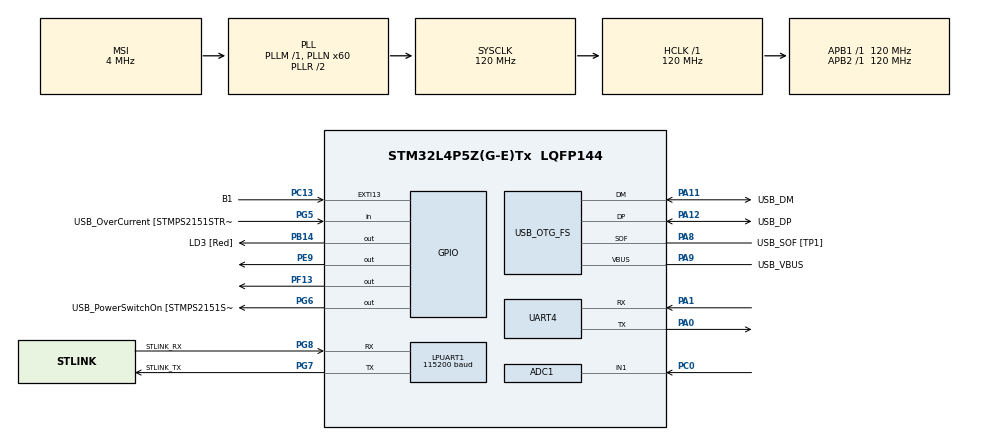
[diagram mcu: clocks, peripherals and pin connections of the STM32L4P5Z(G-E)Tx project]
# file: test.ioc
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ADC1.Channel-0\#ChannelRegularConversion=ADC_CHANNEL_1
ADC1.ClockPrescaler=ADC_CLOCK_ASYNC_DIV1
ADC1.ContinuousConvMode=DISABLE
ADC1.DMAContinuousRequests=DISABLE
ADC1.NbrOfConversionFlag=1
ADC1.OffsetNumber-0\#ChannelRegularConversion=ADC_OFFSET_NONE
ADC1.Rank-0\#ChannelRegularConversion=1
ADC1.SamplingTime-0\#ChannelRegularConversion=ADC_SAMPLETIME_2CYCLES_5
ADC1.master=1
FREERTOS.Tasks01=defaultTask,24,128,StartDefaultTask,Default,NULL,Dynamic,NULL,NULL
LPUART1.BaudRate=115200
LPUART1.WordLength=UART_WORDLENGTH_8B
Mcu.Family=STM32L4
Mcu.Name=STM32L4P5Z(G-E)Tx
Mcu.Package=LQFP144
NVIC.PriorityGroup=NVIC_PRIORITYGROUP_4
PA0.Mode=Asynchronous
PA0.Signal=UART4_TX
PA1.Mode=Asynchronous
PA1.Signal=UART4_RX
PA10.GPIO_Label=USB_ID
PA10.Signal=USB_OTG_FS_ID
PA11.GPIO_Label=USB_DM
PA11.Mode=Device_Only
PA11.Signal=USB_OTG_FS_DM
PA12.GPIO_Label=USB_DP
PA12.Mode=Device_Only
PA12.Signal=USB_OTG_FS_DP
PA13\ (JTMS/SWDIO).GPIO_Label=TMS
PA13\ (JTMS/SWDIO).Mode=Trace_Asynchronous_SW
PA13\ (JTMS/SWDIO).Signal=SYS_JTMS-SWDIO
PA14\ (JTCK/SWCLK).GPIO_Label=TCK
PA14\ (JTCK/SWCLK).Mode=Trace_Asynchronous_SW
PA14\ (JTCK/SWCLK).Signal=SYS_JTCK-SWCLK
PA8.GPIO_Label=USB_SOF [TP1]
PA8.Mode=Activate_SOF_FS
PA8.Signal=USB_OTG_FS_SOF
PA9.GPIO_Label=USB_VBUS
PA9.Mode=Activate_VBUS
PA9.Signal=USB_OTG_FS_VBUS
PB14.GPIO_Label=LD3 [Red]
PB14.Signal=GPIO_Output
PB3\ (JTDO/TRACESWO).GPIO_Label=SWO
PB3\ (JTDO/TRACESWO).Mode=Trace_Asynchronous_SW
PB3\ (JTDO/TRACESWO).Signal=SYS_JTDO-SWO
PB4\ (NJTRST).Signal=S_TIM3_CH1
PC0.Signal=ADCx_IN1
PC13.GPIO_Label=B1
PC13.Signal=GPXTI13
PC14-OSC32_IN\ (PC14).Mode=LSE-External-Oscillator
PC14-OSC32_IN\ (PC14).Signal=RCC_OSC32_IN
PC15-OSC32_OUT\ (PC15).Mode=LSE-External-Oscillator
PC15-OSC32_OUT\ (PC15).Signal=RCC_OSC32_OUT
PE9.Signal=GPIO_Output
PF13.Signal=GPIO_Output
PG5.GPIO_Label=USB_OverCurrent [STMPS2151STR_FAULT]
PG5.Signal=GPIO_Input
PG6.GPIO_Label=USB_PowerSwitchOn [STMPS2151STR_En]
PG6.Signal=GPIO_Output
PG7.GPIO_Label=STLINK_TX
PG7.Mode=Asynchronous
PG7.Signal=LPUART1_TX
PG8.GPIO_Label=STLINK_RX
PG8.Mode=Asynchronous
PG8.Signal=LPUART1_RX
PH0-OSC_IN\ (PH0).Mode=HSE-External-Clock-Source
PH0-OSC_IN\ (PH0).Signal=RCC_OSC_IN
PH1-OSC_OUT\ (PH1).Signal=RCC_OSC_OUT
ProjectManager.HeapSize=0x200
ProjectManager.StackSize=0x400
ProjectManager.TargetToolchain=STM32CubeIDE
RCC.48MHZClocksFreq_Value=24000000
RCC.ADCFreq_Value=48000000
RCC.AHBFreq_Value=120000000
RCC.APB1Freq_Value=120000000
RCC.APB1TimFreq_Value=120000000
RCC.APB2Freq_Value=120000000
RCC.APB2TimFreq_Value=120000000
RCC.CortexFreq_Value=120000000
RCC.HCLKFreq_Value=120000000
RCC.HSE_VALUE=8000000
RCC.HSI48_VALUE=48000000
RCC.HSI_VALUE=16000000
RCC.MSI_VALUE=4000000
RCC.PLLMUL=RCC_PLL_MUL9
RCC.PLLN=60
RCC.PLLSAI1N=24
RCC.PRESCALERUSB=RCC_USBCLKSOURCE_PLL_DIV1_5
RCC.SYSCLKFreq_VALUE=120000000
RCC.SYSCLKSource=RCC_SYSCLKSOURCE_PLLCLK
RCC.SYSCLKSourceVirtual=RCC_SYSCLKSOURCE_PLLCLK
RCC.USBFreq_Value=48000000
RCC.VCOOutputFreq_Value=240000000
SH.ADCx_IN1.0=ADC1_IN1,IN1-Single-Ended
SH.S_TIM3_CH1.0=TIM3_CH1
USB_OTG_FS.VirtualMode=Device_Only
VP_FREERTOS_VS_CMSIS_V2.Mode=CMSIS_V2
board=NUCLEO-L4P5ZG

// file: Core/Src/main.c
/* USER CODE BEGIN Header */
/**
  ******************************************************************************
  * @file           : main.c
  * @brief          : Main program body
  ******************************************************************************
  * @attention
  *
  * Copyright (c) 2022 STMicroelectronics.
  * All rights reserved.
  *
  * This software is licensed under terms that can be found in the LICENSE file
  * in the root directory of this software component.
  * If no LICENSE file comes with this software, it is provided AS-IS.
  *
  ******************************************************************************
  */
/* USER CODE END Header */
#include "main.h"
#include "cmsis_os.h"

/* USER CODE BEGIN Includes */
#include <string.h>
#include <math.h>
/* USER CODE END Includes */

/* USER CODE BEGIN PD */
#define ADC_BUF_LEN 4096
/* USER CODE END PD */

ADC_HandleTypeDef hadc1;

UART_HandleTypeDef hlpuart1;
UART_HandleTypeDef huart4;

PCD_HandleTypeDef hpcd_USB_OTG_FS;

/* Definitions for defaultTask */
osThreadId_t defaultTaskHandle;
const osThreadAttr_t defaultTask_attributes = {
  .name = "defaultTask",
  .stack_size = 128 * 4,
  .priority = (osPriority_t) osPriorityNormal,
};
/* USER CODE BEGIN PV */
uint16_t adc_buf[ADC_BUF_LEN];
/* USER CODE END PV */

void SystemClock_Config(void);
void PeriphCommonClock_Config(void);
static void MX_GPIO_Init(void);
static void MX_USB_OTG_FS_PCD_Init(void);
static void MX_ADC1_Init(void);
static void MX_LPUART1_UART_Init(void);
static void MX_UART4_Init(void);
void StartDefaultTask(void *argument);

/* USER CODE BEGIN 0 */
double temp;
/* USER CODE END 0 */

int main(void)
{

  /* MCU Configuration--------------------------------------------------------*/

  /* Reset of all peripherals, Initializes the Flash interface and the Systick. */
  HAL_Init();

  /* Configure the system clock */
  SystemClock_Config();

/* Configure the peripherals common clocks */
  PeriphCommonClock_Config();

  /* Initialize all configured peripherals */
  MX_GPIO_Init();
  MX_USB_OTG_FS_PCD_Init();
  MX_ADC1_Init();
  MX_LPUART1_UART_Init();
  MX_UART4_Init();
  /* USER CODE BEGIN 2 */
  int pin;
  	 double temp_tres = 100;
  //HAL_ADCEx_Calibration_Start(&hadc1, ADC_SINGLE_ENDED);

  /* USER CODE END 2 */

  /* Init scheduler */
  osKernelInitialize();

  /* Create the thread(s) */
  /* creation of defaultTask */
  defaultTaskHandle = osThreadNew(StartDefaultTask, NULL, &defaultTask_attributes);

  /* Start scheduler */
  osKernelStart();

  /* We should never get here as control is now taken by the scheduler */
  /* Infinite loop */
  /* USER CODE BEGIN WHILE */
  while (1)
  {

	  //HAL_Delay(1000);
	//  if(temp < temp_tres)
	 	//	  TIM3->CCR1 = 1023;
	 	//  else
	 		//  TIM3->CCR1 = 0;

	//  {
	  HAL_GPIO_TogglePin(GPIOB, GPIO_PIN_14);
	  HAL_Delay(100);
	  double val, resistance, A,B,C;
	  uint16_t raw;
	  	  A = 0.000732;
	  	  B = 0.000214;
	  	  C = 1.07E-07;

	  		  char msg[10];
	  		  	  HAL_ADC_Start(&hadc1);
	  	  	      HAL_ADC_PollForConversion(&hadc1, HAL_MAX_DELAY);
	  	  	      raw = HAL_ADC_GetValue(&hadc1);
	  	  	      val= (3.3/4096)*raw;
	  	  	      resistance = val/((3.3-val)/100000);
	  	  	      temp = 1/(A+B*log(resistance)+C*pow(log(resistance),3))-272.15;
	  	  	      sprintf(msg, "%hu , %f , %f\r\n", raw, temp, resistance);
	  			 HAL_UART_Transmit(&hlpuart1, (uint8_t*)msg, strlen(msg), HAL_MAX_DELAY);
		//__HAL_TIM_SET_COMPARE(&htim3, TIM_CHANNEL_1, 25000);
		//HAL_Delay(1);

	  //}
    /* USER CODE END WHILE */

  }
}

void SystemClock_Config(void)
{
  RCC_OscInitTypeDef RCC_OscInitStruct = {0};
  RCC_ClkInitTypeDef RCC_ClkInitStruct = {0};

  /** Configure the main internal regulator output voltage
  */
  if (HAL_PWREx_ControlVoltageScaling(PWR_REGULATOR_VOLTAGE_SCALE1_BOOST) != HAL_OK)
  {
    Error_Handler();
  }

  /** Configure LSE Drive Capability
  */
  HAL_PWR_EnableBkUpAccess();
  __HAL_RCC_LSEDRIVE_CONFIG(RCC_LSEDRIVE_LOW);

  /** Initializes the RCC Oscillators according to the specified parameters
  * in the RCC_OscInitTypeDef structure.
  */
  RCC_OscInitStruct.OscillatorType = RCC_OSCILLATORTYPE_LSE|RCC_OSCILLATORTYPE_MSI;
  RCC_OscInitStruct.LSEState = RCC_LSE_ON;
  RCC_OscInitStruct.MSIState = RCC_MSI_ON;
  RCC_OscInitStruct.MSICalibrationValue = 0;
  RCC_OscInitStruct.MSIClockRange = RCC_MSIRANGE_6;
  RCC_OscInitStruct.PLL.PLLState = RCC_PLL_ON;
  RCC_OscInitStruct.PLL.PLLSource = RCC_PLLSOURCE_MSI;
  RCC_OscInitStruct.PLL.PLLM = 1;
  RCC_OscInitStruct.PLL.PLLN = 60;
  RCC_OscInitStruct.PLL.PLLP = RCC_PLLP_DIV2;
  RCC_OscInitStruct.PLL.PLLQ = RCC_PLLQ_DIV2;
  RCC_OscInitStruct.PLL.PLLR = RCC_PLLR_DIV2;
  if (HAL_RCC_OscConfig(&RCC_OscInitStruct) != HAL_OK)
  {
    Error_Handler();
  }

  /** Initializes the CPU, AHB and APB buses clocks
  */
  RCC_ClkInitStruct.ClockType = RCC_CLOCKTYPE_HCLK|RCC_CLOCKTYPE_SYSCLK
                              |RCC_CLOCKTYPE_PCLK1|RCC_CLOCKTYPE_PCLK2;
  RCC_ClkInitStruct.SYSCLKSource = RCC_SYSCLKSOURCE_PLLCLK;
  RCC_ClkInitStruct.AHBCLKDivider = RCC_SYSCLK_DIV1;
  RCC_ClkInitStruct.APB1CLKDivider = RCC_HCLK_DIV1;
  RCC_ClkInitStruct.APB2CLKDivider = RCC_HCLK_DIV1;

  if (HAL_RCC_ClockConfig(&RCC_ClkInitStruct, FLASH_LATENCY_5) != HAL_OK)
  {
    Error_Handler();
  }

  /** Enable MSI Auto calibration
  */
  HAL_RCCEx_EnableMSIPLLMode();
}

void PeriphCommonClock_Config(void)
{
  RCC_PeriphCLKInitTypeDef PeriphClkInit = {0};

  /** Initializes the peripherals clock
  */
  PeriphClkInit.PeriphClockSelection = RCC_PERIPHCLK_USB|RCC_PERIPHCLK_ADC;
  PeriphClkInit.AdcClockSelection = RCC_ADCCLKSOURCE_PLLSAI1;
  PeriphClkInit.UsbClockSelection = RCC_USBCLKSOURCE_PLLSAI1;
  PeriphClkInit.PLLSAI1.PLLSAI1Source = RCC_PLLSOURCE_MSI;
  PeriphClkInit.PLLSAI1.PLLSAI1M = 1;
  PeriphClkInit.PLLSAI1.PLLSAI1N = 24;
  PeriphClkInit.PLLSAI1.PLLSAI1P = RCC_PLLP_DIV2;
  PeriphClkInit.PLLSAI1.PLLSAI1Q = RCC_PLLQ_DIV2;
  PeriphClkInit.PLLSAI1.PLLSAI1R = RCC_PLLR_DIV2;
  PeriphClkInit.PLLSAI1.PLLSAI1ClockOut = RCC_PLLSAI1_48M2CLK|RCC_PLLSAI1_ADC1CLK;
  if (HAL_RCCEx_PeriphCLKConfig(&PeriphClkInit) != HAL_OK)
  {
    Error_Handler();
  }
}

static void MX_ADC1_Init(void)
{

  ADC_MultiModeTypeDef multimode = {0};
  ADC_ChannelConfTypeDef sConfig = {0};

  /** Common config
  */
  hadc1.Instance = ADC1;
  hadc1.Init.ClockPrescaler = ADC_CLOCK_ASYNC_DIV1;
  hadc1.Init.Resolution = ADC_RESOLUTION_12B;
  hadc1.Init.DataAlign = ADC_DATAALIGN_RIGHT;
  hadc1.Init.ScanConvMode = ADC_SCAN_DISABLE;
  hadc1.Init.EOCSelection = ADC_EOC_SINGLE_CONV;
  hadc1.Init.LowPowerAutoWait = DISABLE;
  hadc1.Init.ContinuousConvMode = DISABLE;
  hadc1.Init.NbrOfConversion = 1;
  hadc1.Init.DiscontinuousConvMode = DISABLE;
  hadc1.Init.ExternalTrigConv = ADC_SOFTWARE_START;
  hadc1.Init.ExternalTrigConvEdge = ADC_EXTERNALTRIGCONVEDGE_NONE;
  hadc1.Init.DMAContinuousRequests = DISABLE;
  hadc1.Init.Overrun = ADC_OVR_DATA_PRESERVED;
  hadc1.Init.OversamplingMode = DISABLE;
  if (HAL_ADC_Init(&hadc1) != HAL_OK)
  {
    Error_Handler();
  }

  /** Configure the ADC multi-mode
  */
  multimode.Mode = ADC_MODE_INDEPENDENT;
  if (HAL_ADCEx_MultiModeConfigChannel(&hadc1, &multimode) != HAL_OK)
  {
    Error_Handler();
  }

  /** Configure Regular Channel
  */
  sConfig.Channel = ADC_CHANNEL_1;
  sConfig.Rank = ADC_REGULAR_RANK_1;
  sConfig.SamplingTime = ADC_SAMPLETIME_2CYCLES_5;
  sConfig.SingleDiff = ADC_SINGLE_ENDED;
  sConfig.OffsetNumber = ADC_OFFSET_NONE;
  sConfig.Offset = 0;
  if (HAL_ADC_ConfigChannel(&hadc1, &sConfig) != HAL_OK)
  {
    Error_Handler();
  }

}

static void MX_LPUART1_UART_Init(void)
{

  hlpuart1.Instance = LPUART1;
  hlpuart1.Init.BaudRate = 115200;
  hlpuart1.Init.WordLength = UART_WORDLENGTH_8B;
  hlpuart1.Init.StopBits = UART_STOPBITS_1;
  hlpuart1.Init.Parity = UART_PARITY_NONE;
  hlpuart1.Init.Mode = UART_MODE_TX_RX;
  hlpuart1.Init.HwFlowCtl = UART_HWCONTROL_NONE;
  hlpuart1.Init.OneBitSampling = UART_ONE_BIT_SAMPLE_DISABLE;
  hlpuart1.Init.ClockPrescaler = UART_PRESCALER_DIV1;
  hlpuart1.AdvancedInit.AdvFeatureInit = UART_ADVFEATURE_NO_INIT;
  hlpuart1.FifoMode = UART_FIFOMODE_DISABLE;
  if (HAL_UART_Init(&hlpuart1) != HAL_OK)
  {
    Error_Handler();
  }
  if (HAL_UARTEx_SetTxFifoThreshold(&hlpuart1, UART_TXFIFO_THRESHOLD_1_8) != HAL_OK)
  {
    Error_Handler();
  }
  if (HAL_UARTEx_SetRxFifoThreshold(&hlpuart1, UART_RXFIFO_THRESHOLD_1_8) != HAL_OK)
  {
    Error_Handler();
  }
  if (HAL_UARTEx_DisableFifoMode(&hlpuart1) != HAL_OK)
  {
    Error_Handler();
  }

}

static void MX_UART4_Init(void)
{

  huart4.Instance = UART4;
  huart4.Init.BaudRate = 115200;
  huart4.Init.WordLength = UART_WORDLENGTH_8B;
  huart4.Init.StopBits = UART_STOPBITS_1;
  huart4.Init.Parity = UART_PARITY_NONE;
  huart4.Init.Mode = UART_MODE_TX_RX;
  huart4.Init.HwFlowCtl = UART_HWCONTROL_NONE;
  huart4.Init.OverSampling = UART_OVERSAMPLING_16;
  huart4.Init.OneBitSampling = UART_ONE_BIT_SAMPLE_DISABLE;
  huart4.Init.ClockPrescaler = UART_PRESCALER_DIV1;
  huart4.AdvancedInit.AdvFeatureInit = UART_ADVFEATURE_NO_INIT;
  if (HAL_UART_Init(&huart4) != HAL_OK)
  {
    Error_Handler();
  }
  if (HAL_UARTEx_SetTxFifoThreshold(&huart4, UART_TXFIFO_THRESHOLD_1_8) != HAL_OK)
  {
    Error_Handler();
  }
  if (HAL_UARTEx_SetRxFifoThreshold(&huart4, UART_RXFIFO_THRESHOLD_1_8) != HAL_OK)
  {
    Error_Handler();
  }
  if (HAL_UARTEx_DisableFifoMode(&huart4) != HAL_OK)
  {
    Error_Handler();
  }

}

static void MX_USB_OTG_FS_PCD_Init(void)
{

  hpcd_USB_OTG_FS.Instance = USB_OTG_FS;
  hpcd_USB_OTG_FS.Init.dev_endpoints = 6;
  hpcd_USB_OTG_FS.Init.phy_itface = PCD_PHY_EMBEDDED;
  hpcd_USB_OTG_FS.Init.Sof_enable = ENABLE;
  hpcd_USB_OTG_FS.Init.low_power_enable = DISABLE;
  hpcd_USB_OTG_FS.Init.lpm_enable = DISABLE;
  hpcd_USB_OTG_FS.Init.battery_charging_enable = ENABLE;
  hpcd_USB_OTG_FS.Init.use_dedicated_ep1 = DISABLE;
  hpcd_USB_OTG_FS.Init.vbus_sensing_enable = ENABLE;
  if (HAL_PCD_Init(&hpcd_USB_OTG_FS) != HAL_OK)
  {
    Error_Handler();
  }

}

static void MX_GPIO_Init(void)
{
  GPIO_InitTypeDef GPIO_InitStruct = {0};

  /* GPIO Ports Clock Enable */
  __HAL_RCC_GPIOC_CLK_ENABLE();
  __HAL_RCC_GPIOH_CLK_ENABLE();
  __HAL_RCC_GPIOA_CLK_ENABLE();
  __HAL_RCC_GPIOF_CLK_ENABLE();
  __HAL_RCC_GPIOE_CLK_ENABLE();
  __HAL_RCC_GPIOB_CLK_ENABLE();
  __HAL_RCC_GPIOG_CLK_ENABLE();
  HAL_PWREx_EnableVddIO2();

  /*Configure GPIO pin Output Level */
  HAL_GPIO_WritePin(GPIOF, GPIO_PIN_13, GPIO_PIN_RESET);

  /*Configure GPIO pin Output Level */
  HAL_GPIO_WritePin(GPIOE, GPIO_PIN_9, GPIO_PIN_RESET);

  /*Configure GPIO pin Output Level */
  HAL_GPIO_WritePin(LD3_GPIO_Port, LD3_Pin, GPIO_PIN_RESET);

  /*Configure GPIO pin Output Level */
  HAL_GPIO_WritePin(USB_PowerSwitchOn_GPIO_Port, USB_PowerSwitchOn_Pin, GPIO_PIN_RESET);

  /*Configure GPIO pin : B1_Pin */
  GPIO_InitStruct.Pin = B1_Pin;
  GPIO_InitStruct.Mode = GPIO_MODE_IT_RISING;
  GPIO_InitStruct.Pull = GPIO_NOPULL;
  HAL_GPIO_Init(B1_GPIO_Port, &GPIO_InitStruct);

  /*Configure GPIO pin : PF13 */
  GPIO_InitStruct.Pin = GPIO_PIN_13;
  GPIO_InitStruct.Mode = GPIO_MODE_OUTPUT_PP;
  GPIO_InitStruct.Pull = GPIO_NOPULL;
  GPIO_InitStruct.Speed = GPIO_SPEED_FREQ_LOW;
  HAL_GPIO_Init(GPIOF, &GPIO_InitStruct);

  /*Configure GPIO pin : PE9 */
  GPIO_InitStruct.Pin = GPIO_PIN_9;
  GPIO_InitStruct.Mode = GPIO_MODE_OUTPUT_PP;
  GPIO_InitStruct.Pull = GPIO_NOPULL;
  GPIO_InitStruct.Speed = GPIO_SPEED_FREQ_LOW;
  HAL_GPIO_Init(GPIOE, &GPIO_InitStruct);

  /*Configure GPIO pin : LD3_Pin */
  GPIO_InitStruct.Pin = LD3_Pin;
  GPIO_InitStruct.Mode = GPIO_MODE_OUTPUT_PP;
  GPIO_InitStruct.Pull = GPIO_NOPULL;
  GPIO_InitStruct.Speed = GPIO_SPEED_FREQ_LOW;
  HAL_GPIO_Init(LD3_GPIO_Port, &GPIO_InitStruct);

  /*Configure GPIO pin : USB_OverCurrent_Pin */
  GPIO_InitStruct.Pin = USB_OverCurrent_Pin;
  GPIO_InitStruct.Mode = GPIO_MODE_INPUT;
  GPIO_InitStruct.Pull = GPIO_NOPULL;
  HAL_GPIO_Init(USB_OverCurrent_GPIO_Port, &GPIO_InitStruct);

  /*Configure GPIO pin : USB_PowerSwitchOn_Pin */
  GPIO_InitStruct.Pin = USB_PowerSwitchOn_Pin;
  GPIO_InitStruct.Mode = GPIO_MODE_OUTPUT_PP;
  GPIO_InitStruct.Pull = GPIO_NOPULL;
  GPIO_InitStruct.Speed = GPIO_SPEED_FREQ_LOW;
  HAL_GPIO_Init(USB_PowerSwitchOn_GPIO_Port, &GPIO_InitStruct);

  /*Configure GPIO pin : PB4 */
  GPIO_InitStruct.Pin = GPIO_PIN_4;
  GPIO_InitStruct.Mode = GPIO_MODE_AF_PP;
  GPIO_InitStruct.Pull = GPIO_NOPULL;
  GPIO_InitStruct.Speed = GPIO_SPEED_FREQ_LOW;
  GPIO_InitStruct.Alternate = GPIO_AF2_TIM3;
  HAL_GPIO_Init(GPIOB, &GPIO_InitStruct);

}

void StartDefaultTask(void *argument)
{
  for(;;)
  {
    osDelay(1);
  }
}

void Error_Handler(void)
{
  __disable_irq();
  while (1)
  {
  }
}
